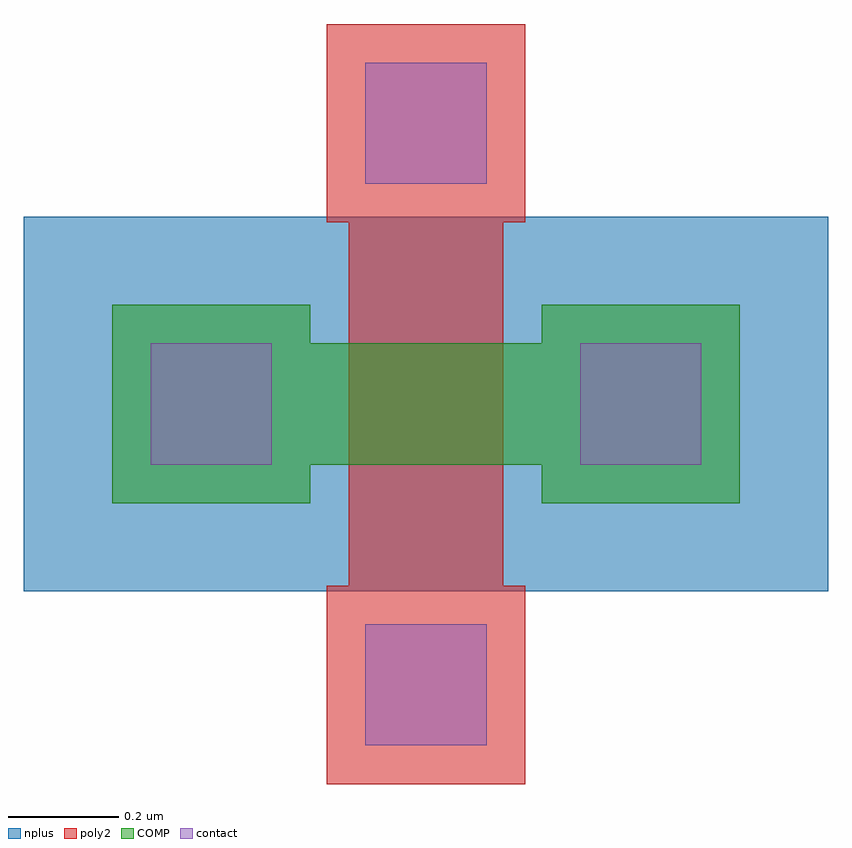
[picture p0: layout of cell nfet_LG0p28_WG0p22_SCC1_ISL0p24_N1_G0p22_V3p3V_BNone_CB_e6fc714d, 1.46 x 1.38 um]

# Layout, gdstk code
import gdstk
lib = gdstk.Library(unit=1e-6, precision=1e-09)
def R(c, l, rs):  # rectangles x0, y0, x1, y1
    for r in rs: c.add(gdstk.rectangle(r[:2], r[2:], *l))
COMP = (22, 0)
poly2 = (30, 0)
nplus = (32, 0)
contact = (33, 0)

labels_gen_lsnone_pm0p18 = lib.new_cell('labels_gen_LSNone_Pm0p18_0p10999999999999999_Lmetal1_la_6b226d65')

labels_gen_lsnone_p0p600 = lib.new_cell('labels_gen_LSNone_P0p6000000000000001_0p109999999999999_6b8aa2ab')

labels_gen_lsnone_p0p21_ = lib.new_cell('labels_gen_LSNone_P0p21_m0p39999999999999997_Lmetal1_la_8df92a8a')

rectangle_gdsfactorypcom = lib.new_cell('rectangle_gdsfactorypcomponentspshapesprectangle_S0p420_e953cc90')
R(rectangle_gdsfactorypcom, COMP, [(0,0,0.42,0.22)])

c_rectangle_gdsfactorypcom = lib.new_cell('rectangle_gdsfactorypcomponentspshapesprectangle_S0p36__a1e2f17b')
R(c_rectangle_gdsfactorypcom, COMP, [(0,0,0.36,0.36)])

c_rectangle_gdsfactorypcom_ = lib.new_cell('rectangle_gdsfactorypcomponentspshapesprectangle_S0p22__bfea7709')
R(c_rectangle_gdsfactorypcom_, contact, [(0,0,0.22,0.22)])

via_generator_xrm0p36_0_ = lib.new_cell('via_generator_XRm0p36_0_YRm0p07_0p29_VS0p22_0p22_VLcont_60b3f15e')
via_generator_xrm0p36_0_.add(gdstk.Reference(c_rectangle_gdsfactorypcom_, (-0.29,0)))

c_rectangle_gdsfactorypcom__ = lib.new_cell('rectangle_gdsfactorypcomponentspshapesprectangle_S0p339_7cf635e5')
R(c_rectangle_gdsfactorypcom__, COMP, [(0,0,0.34,0.34)])

via_stack_xrm0p36_0_yrm0 = lib.new_cell('via_stack_XRm0p36_0_YRm0p07_0p29_ML1_CS0p22_0p22_CE0p07_330c0f76')
via_stack_xrm0p36_0_yrm0.add(gdstk.Reference(via_generator_xrm0p36_0_, (0,0)))
via_stack_xrm0p36_0_yrm0.add(gdstk.Reference(c_rectangle_gdsfactorypcom__, (-0.35,-0.06)))

c_rectangle_gdsfactorypcom___ = lib.new_cell('rectangle_gdsfactorypcomponentspshapesprectangle_S0p28__432ff8e8')
R(c_rectangle_gdsfactorypcom___, poly2, [(0,0,0.28,0.66)])

c_rectangle_gdsfactorypcom____ = lib.new_cell('rectangle_gdsfactorypcomponentspshapesprectangle_S0p360_c50b099a')
R(c_rectangle_gdsfactorypcom____, poly2, [(0,0,0.36,0.36)])

via_generator_xr0_0p36_y = lib.new_cell('via_generator_XR0_0p36_YR0_0p36_VS0p22_0p22_VLcontact_V_b31f4566')
via_generator_xr0_0p36_y.add(gdstk.Reference(c_rectangle_gdsfactorypcom_, (0.07,0.07)))

c_rectangle_gdsfactorypcom_____ = lib.new_cell('rectangle_gdsfactorypcomponentspshapesprectangle_S0p339_f4050e4b')
R(c_rectangle_gdsfactorypcom_____, poly2, [(0,0,0.34,0.34)])

via_stack_xr0_0p36_yr0_0 = lib.new_cell('via_stack_XR0_0p36_YR0_0p36_ML1_CS0p22_0p22_CE0p07_ME0p_3c6a0a25')
via_stack_xr0_0p36_yr0_0.add(gdstk.Reference(via_generator_xr0_0p36_y, (0,0)))
via_stack_xr0_0p36_yr0_0.add(gdstk.Reference(c_rectangle_gdsfactorypcom_____, (0.01,0.01)))

unnamed_187 = lib.new_cell('Unnamed_187')
unnamed_187.add(gdstk.Reference(c_rectangle_gdsfactorypcom____, (0,0)))
unnamed_187.add(gdstk.Reference(via_stack_xr0_0p36_yr0_0, (0,0)))

c_rectangle_gdsfactorypcom______ = lib.new_cell('rectangle_gdsfactorypcomponentspshapesprectangle_S1p460_fb0b4a79')
R(c_rectangle_gdsfactorypcom______, nplus, [(0,0,1.46,0.68)])

unnamed_178 = lib.new_cell('Unnamed_178')
unnamed_178.add(gdstk.Reference(rectangle_gdsfactorypcom, (0,0)))
r = gdstk.Reference(c_rectangle_gdsfactorypcom, (-0.36,-0.07)); r.repetition = gdstk.Repetition(2, 1, v1=(0.78,0), v2=(0,0)); unnamed_178.add(r)
r = gdstk.Reference(via_stack_xrm0p36_0_yrm0, (0,0)); r.repetition = gdstk.Repetition(2, 1, v1=(0.78,0), v2=(0,0)); unnamed_178.add(r)
unnamed_178.add(gdstk.Reference(c_rectangle_gdsfactorypcom___, (0.07,-0.22)))
r = gdstk.Reference(unnamed_187, (0.03,-0.58)); r.repetition = gdstk.Repetition(1, 2, v1=(0,0), v2=(0,1.02)); unnamed_178.add(r)
unnamed_178.add(gdstk.Reference(c_rectangle_gdsfactorypcom______, (-0.52,-0.23)))

nfet_deep_nwell_d0_p0_is = lib.new_cell('nfet_deep_nwell_D0_P0_IS1p46_1p38_IXm0p52_IYm0p58_G0p22')

nfet_lg0p28_wg0p22_scc1_ = lib.new_cell('nfet_LG0p28_WG0p22_SCC1_ISL0p24_N1_G0p22_V3p3V_BNone_CB_e6fc714d')
nfet_lg0p28_wg0p22_scc1_.add(gdstk.Reference(labels_gen_lsnone_pm0p18, (0,0)))
nfet_lg0p28_wg0p22_scc1_.add(gdstk.Reference(labels_gen_lsnone_p0p600, (0,0)))
nfet_lg0p28_wg0p22_scc1_.add(gdstk.Reference(labels_gen_lsnone_p0p21_, (0,0)))
nfet_lg0p28_wg0p22_scc1_.add(gdstk.Reference(unnamed_178, (0,0)))
nfet_lg0p28_wg0p22_scc1_.add(gdstk.Reference(nfet_deep_nwell_d0_p0_is, (0,0)))

lib.write_gds('nfet_LG0p28_WG0p22_SCC1_ISL0p24_N1_G0p22_V3p3V_BNone_CB_e6fc714d.gds')
